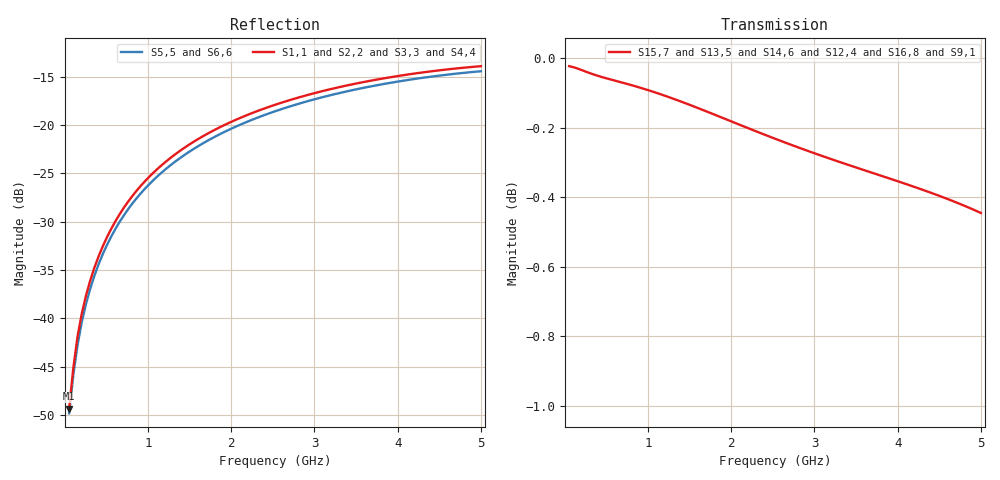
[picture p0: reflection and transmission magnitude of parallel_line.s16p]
! Touchstone file exported from HFSS 2019.1.0
!  File:  C:/Users/33202/Desktop/HFSS script/parallel line.aedt
!  Generated:  6:54:59 下午  5月 18, 2026
!  Design:  StackupDesign
!  Project:  parallel line
!  Setup:  Setup1
!  Solution:  Sweep
! Variables:
!  R_anti_pcb = 400um
!  R_bottom_anti = 450um
!  R_bottom_pad = 150um
!  R_core_anti = 180um
!  R_core_pad = 100um
!  R_core_via = 50um
!  R_micro_anti = 90um
!  R_micro_c_pad = 50um
!  R_micro_pad = 45um
!  R_micro_via = 30um
!  R_pad_pcb = 150um
!  R_via_pcb = 50um
!  diameter_bga = 300um
!  diameter_bga_top = 275um
!  gnd_via_gap = 2
!  layer_bottom_anti = 11
!  layer_core_lower_anti = 9
!  layer_core_upper_anti = 8
!  length_whole = 6000um
!  length_x = 3000um
!  pitch_bga_x = 600um
!  pitch_bga_y = 600um
!  position_L1 = position_L2+thick_L2+thick_dielectric_L1_L2
!  position_L10 = position_L11+thick_L11+thick_dielectric_L10_L11
!  position_L11 = position_L12+thick_L12+thick_dielectric_L11_L12
!  position_L12 = position_L13+thick_L13+thick_dielectric_L12_L13
!  position_L13 = position_L14+thick_L14+thick_dielectric_L13_L14
!  position_L14 = position_L15+thick_L15+thick_dielectric_L14_L15
!  position_L15 = position_L16+thick_L16+thick_dielectric_L15_L16
!  position_L16 = 0um
!  position_L2 = position_L3+thick_L3+thick_dielectric_L2_L3
!  position_L3 = position_L4+thick_L4+thick_dielectric_L3_L4
!  position_L4 = position_L5+thick_L5+thick_dielectric_L4_L5
!  position_L5 = position_L6+thick_L6+thick_dielectric_L5_L6
!  position_L6 = position_L7+thick_L7+thick_dielectric_L6_L7
!  position_L7 = position_L8+thick_L8+thick_dielectric_L7_L8
!  position_L8 = position_L9+thick_L9+thick_dielectric_L8_L9
!  position_L9 = position_L10+thick_L10+thick_dielectric_L9_L10
!  position_pcb_L1 = -thick_bga
!  position_pcb_L2 = position_pcb_L1+thick_pcb_L1+thick_pcb_dielectric_L1_L2
!  position_pcb_L3 = position_pcb_L2+thick_pcb_L2+thick_pcb_dielectric_L2_L3
!  position_pcb_L4 = position_pcb_L3+thick_pcb_L3+thick_pcb_dielectric_L3_L4
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# GHZ S MA R 50.000000
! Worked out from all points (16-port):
!   99 points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, 50.51 MHz to 5 GHz, reference 50 ohm
!   strongest paths, dB at 50.51 MHz, 1.263 GHz, 2.525 GHz, 3.788 GHz, 5 GHz:
!     S15,7: 0.0, -0.1, -0.2, -0.3, -0.4
!     S13,5: 0.0, -0.1, -0.2, -0.3, -0.5
!     S14,6: 0.0, -0.1, -0.2, -0.3, -0.5
!     S12,4: 0.0, -0.1, -0.3, -0.4, -0.5
!     S16,8: 0.0, -0.1, -0.3, -0.4, -0.5
!     S9,1: 0.0, -0.1, -0.3, -0.4, -0.5
!   lowest |S11| = -49.3 dB at 50.51 MHz (marker M1), VSWR 1.01, Z = 50.2 - j0.25 ohm
!   |S11| at or under -10 dB: start of sweep to end of sweep
